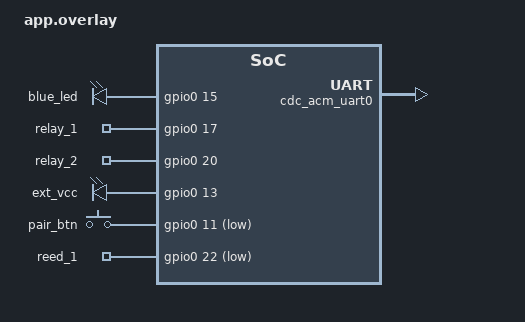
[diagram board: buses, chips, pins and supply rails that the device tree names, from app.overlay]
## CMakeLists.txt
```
cmake_minimum_required(VERSION 3.20.0)
find_package(Zephyr REQUIRED HINTS $ENV{ZEPHYR_BASE})
project(supermini_gate_controller)

target_sources(app PRIVATE src/main.c)
```

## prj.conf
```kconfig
# Обязательный базовый профиль nRF Connect SDK
CONFIG_NCS_SAMPLES_DEFAULTS=y

# Внутренний RC-генератор (на SuperMini нет внешнего кварца 32.768 кГц)
CONFIG_CLOCK_CONTROL_NRF_K32SRC_RC=y
CONFIG_CLOCK_CONTROL_NRF_K32SRC_XTAL=n
CONFIG_CLOCK_CONTROL_NRF_K32SRC_500PPM=y

# Сборка UF2 для загрузчика Adafruit
CONFIG_BUILD_OUTPUT_UF2=y

# Криптография для ZBOSS с правильным приоритетом инициализации из light_bulb!
CONFIG_CRYPTO=y
CONFIG_CRYPTO_NRF_ECB=y
CONFIG_CRYPTO_INIT_PRIORITY=80
CONFIG_ENTROPY_GENERATOR=y

# Стек Zigbee (Роль Роутера + таймер через k_timer ядра)
CONFIG_ZIGBEE=y
CONFIG_ZIGBEE_APP_UTILS=y
CONFIG_ZIGBEE_ROLE_ROUTER=y
CONFIG_ZIGBEE_TIME_KTIMER=y
CONFIG_ZIGBEE_CHANNEL_SELECTION_MODE_MULTI=y
CONFIG_ZIGBEE_CHANNEL_MASK=0x07FFF800

# Сетевой стек (как в примерах Nordic)
CONFIG_NET_IPV6=n
CONFIG_NET_IP_ADDR_CHECK=n
CONFIG_NET_UDP=n

# Хранилище NVRAM для ZBOSS
CONFIG_FLASH=y
CONFIG_FLASH_MAP=y
CONFIG_NVS=y
CONFIG_SETTINGS=y

# Периферия и память
CONFIG_GPIO=y
CONFIG_HEAP_MEM_POOL_SIZE=16384
CONFIG_MAIN_STACK_SIZE=4096
CONFIG_SYSTEM_WORKQUEUE_STACK_SIZE=4096

# Отключаем USB и консоли
CONFIG_USB_DEVICE_STACK=n
CONFIG_SERIAL=n
CONFIG_CONSOLE=n
CONFIG_UART_CONSOLE=n
CONFIG_LOG=n
```

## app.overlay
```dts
/{
    chosen {
        zephyr,console = &cdc_acm_uart0;
    };

    aliases {
        led0 = &blue_led;
        sw0 = &pair_btn;
        relay-full = &relay_1;
        relay-wicket = &relay_2;
        reed-switch = &reed_1;
    };

    leds {
        compatible = "gpio-leds";
        blue_led: led_0 {
            /* Встроенный LED на SuperMini nRF52840 (P0.15) */
            gpios = <&gpio0 15 GPIO_ACTIVE_HIGH>;
        };
        relay_1: relay_full {
            /* Реле 1: Полное открытие (пин 017) */
            gpios = <&gpio0 17 GPIO_ACTIVE_HIGH>;
        };
        relay_2: relay_wicket {
            /* Реле 2: Калитка (пин 020) */
            gpios = <&gpio0 20 GPIO_ACTIVE_HIGH>;
        };
        ext_vcc: vcc_en {
            /* Включает питание 3.3V на пине VCC платы (пин 013) */
            gpios = <&gpio0 13 GPIO_ACTIVE_HIGH>;
        };
    };

    buttons {
        compatible = "gpio-keys";
        pair_btn: button_0 {
            /* Кнопка сброса сети на пине 011 / D7 (5 сек на GND) */
            gpios = <&gpio0 11 (GPIO_PULL_UP | GPIO_ACTIVE_LOW)>;
        };
        reed_1: reed_closed {
            /* Геркон полного закрытия (пин 022, замкнут на GND при закрытых воротах) */
            gpios = <&gpio0 22 (GPIO_PULL_UP | GPIO_ACTIVE_LOW)>;
        };
    };
};

&zephyr_udc0 {
    cdc_acm_uart0: cdc_acm_uart0 {
        compatible = "zephyr,cdc-acm-uart";
    };
};

&spi1 {
    status = "disabled";
};
```

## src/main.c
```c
#include <zephyr/kernel.h>
#include <zephyr/drivers/gpio.h>


#include <zephyr/logging/log.h>
LOG_MODULE_REGISTER(app, LOG_LEVEL_INF);

#include <zboss_api.h>
#include <zboss_api_addons.h>
#include <zigbee/zigbee_app_utils.h>
#include <zigbee/zigbee_error_handler.h>
#include <zb_nrf_platform.h>

/* Идентификаторы эндпоинтов */
#define EP_FULL_OPEN    1
#define EP_WICKET       2
#define EP_REED_SWITCH  3

/* Параметры устройства для Zigbee2MQTT */
#define INIT_BASIC_APP_VERSION       01
#define INIT_BASIC_STACK_VERSION     10
#define INIT_BASIC_HW_VERSION        01
#define INIT_BASIC_MANUF_NAME        "DIY"
#define INIT_BASIC_MODEL_ID          "SuperMini_Gate_v1"
#define INIT_BASIC_DATE_CODE         "20261123"
#define INIT_BASIC_POWER_SOURCE      ZB_ZCL_BASIC_POWER_SOURCE_DC_SOURCE

/* Оборудование из Devicetree */
static const struct gpio_dt_spec led_spec = GPIO_DT_SPEC_GET(DT_ALIAS(led0), gpios);
static const struct gpio_dt_spec vcc_spec = GPIO_DT_SPEC_GET(DT_NODELABEL(ext_vcc), gpios);
static const struct gpio_dt_spec btn_spec = GPIO_DT_SPEC_GET(DT_ALIAS(sw0), gpios);
static const struct gpio_dt_spec relay1_spec = GPIO_DT_SPEC_GET(DT_ALIAS(relay_full), gpios);
static const struct gpio_dt_spec relay2_spec = GPIO_DT_SPEC_GET(DT_ALIAS(relay_wicket), gpios);
static const struct gpio_dt_spec reed_spec = GPIO_DT_SPEC_GET(DT_ALIAS(reed_switch), gpios);

static struct gpio_callback btn_cb_data;
static struct gpio_callback reed_cb_data;
static bool is_joined = false;

/* Контексты атрибутов ZCL */
typedef struct {
    zb_uint8_t zcl_version;
    zb_uint8_t app_version;
    zb_uint8_t stack_version;
    zb_uint8_t hw_version;
    zb_char_t mf_name[32];
    zb_char_t model_id[32];
    zb_char_t date_code[32];
    zb_uint8_t power_source;
    zb_uint8_t location_id[17];
    zb_uint8_t ph_env;
    zb_char_t sw_build_id[17];
} basic_attr_t;

typedef struct {
    zb_uint16_t identify_time;
} identify_attr_t;

typedef struct {
    zb_bool_t on_off;
} on_off_attr_t;

typedef struct {
    zb_bool_t out_of_service;
    zb_bool_t present_value;
    zb_uint8_t status_flags;
} binary_input_attr_t;

static basic_attr_t dev_basic_attr;
static identify_attr_t dev_identify_attr;
static on_off_attr_t relay1_on_off_attr;
static on_off_attr_t relay2_on_off_attr;
static binary_input_attr_t reed_bi_attr;

/* Декларация кластеров ZCL */
ZB_ZCL_DECLARE_BASIC_ATTRIB_LIST_EXT(basic_attr_list,
    &dev_basic_attr.zcl_version,
    &dev_basic_attr.app_version,
    &dev_basic_attr.stack_version,
    &dev_basic_attr.hw_version,
    dev_basic_attr.mf_name,
    dev_basic_attr.model_id,
    dev_basic_attr.date_code,
    &dev_basic_attr.power_source,
    dev_basic_attr.location_id,
    &dev_basic_attr.ph_env,
    dev_basic_attr.sw_build_id);

ZB_ZCL_DECLARE_IDENTIFY_ATTRIB_LIST(identify_attr_list, &dev_identify_attr.identify_time);
ZB_ZCL_DECLARE_ON_OFF_ATTRIB_LIST(on_off_attr_list_1, &relay1_on_off_attr.on_off);
ZB_ZCL_DECLARE_ON_OFF_ATTRIB_LIST(on_off_attr_list_2, &relay2_on_off_attr.on_off);

ZB_ZCL_DECLARE_BINARY_INPUT_ATTRIB_LIST(bi_attr_list,
    &reed_bi_attr.out_of_service,
    &reed_bi_attr.present_value,
    &reed_bi_attr.status_flags);

/* Списки кластеров по эндпоинтам */
zb_zcl_cluster_desc_t ep1_clusters[] = {
    ZB_ZCL_CLUSTER_DESC(ZB_ZCL_CLUSTER_ID_BASIC, ZB_ZCL_ARRAY_SIZE(basic_attr_list, zb_zcl_attr_t), basic_attr_list, ZB_ZCL_CLUSTER_SERVER_ROLE, ZB_ZCL_MANUF_CODE_INVALID),
    ZB_ZCL_CLUSTER_DESC(ZB_ZCL_CLUSTER_ID_IDENTIFY, ZB_ZCL_ARRAY_SIZE(identify_attr_list, zb_zcl_attr_t), identify_attr_list, ZB_ZCL_CLUSTER_SERVER_ROLE, ZB_ZCL_MANUF_CODE_INVALID),
    ZB_ZCL_CLUSTER_DESC(ZB_ZCL_CLUSTER_ID_ON_OFF, ZB_ZCL_ARRAY_SIZE(on_off_attr_list_1, zb_zcl_attr_t), on_off_attr_list_1, ZB_ZCL_CLUSTER_SERVER_ROLE, ZB_ZCL_MANUF_CODE_INVALID),
};

zb_zcl_cluster_desc_t ep2_clusters[] = {
    ZB_ZCL_CLUSTER_DESC(ZB_ZCL_CLUSTER_ID_IDENTIFY, ZB_ZCL_ARRAY_SIZE(identify_attr_list, zb_zcl_attr_t), identify_attr_list, ZB_ZCL_CLUSTER_SERVER_ROLE, ZB_ZCL_MANUF_CODE_INVALID),
    ZB_ZCL_CLUSTER_DESC(ZB_ZCL_CLUSTER_ID_ON_OFF, ZB_ZCL_ARRAY_SIZE(on_off_attr_list_2, zb_zcl_attr_t), on_off_attr_list_2, ZB_ZCL_CLUSTER_SERVER_ROLE, ZB_ZCL_MANUF_CODE_INVALID),
};

zb_zcl_cluster_desc_t ep3_clusters[] = {
    ZB_ZCL_CLUSTER_DESC(ZB_ZCL_CLUSTER_ID_IDENTIFY, ZB_ZCL_ARRAY_SIZE(identify_attr_list, zb_zcl_attr_t), identify_attr_list, ZB_ZCL_CLUSTER_SERVER_ROLE, ZB_ZCL_MANUF_CODE_INVALID),
    ZB_ZCL_CLUSTER_DESC(ZB_ZCL_CLUSTER_ID_BINARY_INPUT, ZB_ZCL_ARRAY_SIZE(bi_attr_list, zb_zcl_attr_t), bi_attr_list, ZB_ZCL_CLUSTER_SERVER_ROLE, ZB_ZCL_MANUF_CODE_INVALID),
};

/* Дескрипторы эндпоинтов */
typedef ZB_PACKED_PRE struct {
    zb_uint8_t endpoint;
    zb_uint16_t app_profile_id;
    zb_uint16_t app_device_id;
    zb_bitfield_t app_device_version:4;
    zb_bitfield_t reserved:4;
    zb_uint8_t app_input_cluster_count;
    zb_uint8_t app_output_cluster_count;
    zb_uint16_t app_cluster_list[3];
} ZB_PACKED_STRUCT gate_simple_desc_3_t;

typedef ZB_PACKED_PRE struct {
    zb_uint8_t endpoint;
    zb_uint16_t app_profile_id;
    zb_uint16_t app_device_id;
    zb_bitfield_t app_device_version:4;
    zb_bitfield_t reserved:4;
    zb_uint8_t app_input_cluster_count;
    zb_uint8_t app_output_cluster_count;
    zb_uint16_t app_cluster_list[2];
} ZB_PACKED_STRUCT gate_simple_desc_2_t;

/* ИСПРАВЛЕНО: указаны 3 кластера в соответствии с ep1_clusters */
static gate_simple_desc_3_t simple_desc_ep1 = {
    EP_FULL_OPEN, ZB_AF_HA_PROFILE_ID, ZB_HA_ON_OFF_OUTPUT_DEVICE_ID, 1, 0, 3, 0,
    { ZB_ZCL_CLUSTER_ID_BASIC, ZB_ZCL_CLUSTER_ID_IDENTIFY, ZB_ZCL_CLUSTER_ID_ON_OFF }
};

static gate_simple_desc_2_t simple_desc_ep2 = {
    EP_WICKET, ZB_AF_HA_PROFILE_ID, ZB_HA_ON_OFF_OUTPUT_DEVICE_ID, 1, 0, 2, 0,
    { ZB_ZCL_CLUSTER_ID_IDENTIFY, ZB_ZCL_CLUSTER_ID_ON_OFF }
};

static gate_simple_desc_2_t simple_desc_ep3 = {
    EP_REED_SWITCH, ZB_AF_HA_PROFILE_ID, ZB_HA_SIMPLE_SENSOR_DEVICE_ID, 1, 0, 2, 0,
    { ZB_ZCL_CLUSTER_ID_IDENTIFY, ZB_ZCL_CLUSTER_ID_BINARY_INPUT }
};

ZB_AF_DECLARE_ENDPOINT_DESC(ep1_desc, EP_FULL_OPEN, ZB_AF_HA_PROFILE_ID, 0, NULL,
    ZB_ZCL_ARRAY_SIZE(ep1_clusters, zb_zcl_cluster_desc_t), ep1_clusters,
    (zb_af_simple_desc_1_1_t *)&simple_desc_ep1, 0, NULL, 0, NULL);

ZB_AF_DECLARE_ENDPOINT_DESC(ep2_desc, EP_WICKET, ZB_AF_HA_PROFILE_ID, 0, NULL,
    ZB_ZCL_ARRAY_SIZE(ep2_clusters, zb_zcl_cluster_desc_t), ep2_clusters,
    (zb_af_simple_desc_1_1_t *)&simple_desc_ep2, 0, NULL, 0, NULL);

ZB_AF_DECLARE_ENDPOINT_DESC(ep3_desc, EP_REED_SWITCH, ZB_AF_HA_PROFILE_ID, 0, NULL,
    ZB_ZCL_ARRAY_SIZE(ep3_clusters, zb_zcl_cluster_desc_t), ep3_clusters,
    (zb_af_simple_desc_1_1_t *)&simple_desc_ep3, 0, NULL, 0, NULL);

zb_af_endpoint_desc_t *gate_ep_list[] = { &ep1_desc, &ep2_desc, &ep3_desc };
zb_af_device_ctx_t gate_ctx = {
    3,
    gate_ep_list
};

/* --- Отложенные задачи (Workqueues) --- */

/* 0. Мигание светодиодом во время поиска сети */
static void led_blink_handler(struct k_work *work);
K_WORK_DELAYABLE_DEFINE(led_blink_work, led_blink_handler);

static void led_blink_handler(struct k_work *work)
{
    if (!is_joined) {
        gpio_pin_toggle_dt(&led_spec);
        k_work_reschedule(&led_blink_work, K_MSEC(300));
    } else {
        gpio_pin_set_dt(&led_spec, 1);
    }
}

/* 1. Отключение Реле 1 через 500 мс */
static void relay1_off_handler(struct k_work *work)
{
    gpio_pin_set_dt(&relay1_spec, 0);
    zb_uint8_t val = ZB_FALSE;
    zb_zcl_set_attr_val(EP_FULL_OPEN, ZB_ZCL_CLUSTER_ID_ON_OFF,
                        ZB_ZCL_CLUSTER_SERVER_ROLE, ZB_ZCL_ATTR_ON_OFF_ON_OFF_ID,
                        &val, ZB_FALSE);
}
K_WORK_DELAYABLE_DEFINE(relay1_off_work, relay1_off_handler);

/* 2. Отключение Реле 2 через 500 мс */
static void relay2_off_handler(struct k_work *work)
{
    gpio_pin_set_dt(&relay2_spec, 0);
    zb_uint8_t val = ZB_FALSE;
    zb_zcl_set_attr_val(EP_WICKET, ZB_ZCL_CLUSTER_ID_ON_OFF,
                        ZB_ZCL_CLUSTER_SERVER_ROLE, ZB_ZCL_ATTR_ON_OFF_ON_OFF_ID,
                        &val, ZB_FALSE);
}
K_WORK_DELAYABLE_DEFINE(relay2_off_work, relay2_off_handler);

/* 3. Антидребезг и отправка статуса геркона */
static void reed_work_handler(struct k_work *work)
{
    int closed = gpio_pin_get_dt(&reed_spec);
    /* true (1) = ворота открыты, false (0) = ворота закрыты */
    zb_bool_t is_open = (closed == 1) ? ZB_FALSE : ZB_TRUE;

    zb_zcl_set_attr_val(EP_REED_SWITCH, ZB_ZCL_CLUSTER_ID_BINARY_INPUT,
                        ZB_ZCL_CLUSTER_SERVER_ROLE, ZB_ZCL_ATTR_BINARY_INPUT_PRESENT_VALUE_ID,
                        (zb_uint8_t *)&is_open, ZB_FALSE);
}
K_WORK_DELAYABLE_DEFINE(reed_work, reed_work_handler);

/* 4. Сброс привязки Zigbee (Factory Reset) при удержании кнопки 5 сек */
static void reset_work_handler(struct k_work *work)
{
    if (gpio_pin_get_dt(&btn_spec) == 1) {
        is_joined = false;
        k_work_reschedule(&led_blink_work, K_NO_WAIT);
        zb_bdb_reset_via_local_action(0);
    }
}
K_WORK_DELAYABLE_DEFINE(reset_work, reset_work_handler);

/* Прерывания GPIO */
static void reed_isr(const struct device *dev, struct gpio_callback *cb, uint32_t pins)
{
    k_work_reschedule(&reed_work, K_MSEC(200));
}

static void btn_isr(const struct device *dev, struct gpio_callback *cb, uint32_t pins)
{
    if (gpio_pin_get_dt(&btn_spec) == 1) {
        k_work_reschedule(&reset_work, K_SECONDS(5));
    } else {
        k_work_cancel_delayable(&reset_work);
    }
}

/* Обработчик входящих ZCL-команд */
static void zcl_device_cb(zb_bufid_t bufid)
{
    zb_zcl_device_callback_param_t *p_device_cb_param = ZB_BUF_GET_PARAM(bufid, zb_zcl_device_callback_param_t);

    if (p_device_cb_param->device_cb_id == ZB_ZCL_SET_ATTR_VALUE_CB_ID) {
        if (p_device_cb_param->cb_param.set_attr_value_param.cluster_id == ZB_ZCL_CLUSTER_ID_ON_OFF) {
            zb_uint8_t value = p_device_cb_param->cb_param.set_attr_value_param.values.data8;
            zb_uint8_t ep = p_device_cb_param->endpoint;

            if (value == ZB_TRUE) {
                if (ep == EP_FULL_OPEN) {
                    gpio_pin_set_dt(&relay1_spec, 1);
                    k_work_reschedule(&relay1_off_work, K_MSEC(500));
                } else if (ep == EP_WICKET) {
                    gpio_pin_set_dt(&relay2_spec, 1);
                    k_work_reschedule(&relay2_off_work, K_MSEC(500));
                }
            }
        }
    }
    p_device_cb_param->status = RET_OK;
}


/* Обработчик событий стека Zigbee */
void zboss_signal_handler(zb_bufid_t bufid)
{
    zb_zdo_app_signal_hdr_t *p_sg_p = NULL;
    zb_zdo_app_signal_type_t sig = zb_get_app_signal(bufid, &p_sg_p);
    zb_ret_t status = ZB_GET_APP_SIGNAL_STATUS(bufid);

    switch (sig) {
    case ZB_BDB_SIGNAL_DEVICE_FIRST_START:
    case ZB_BDB_SIGNAL_DEVICE_REBOOT:
        if (status == RET_OK) {
            /* Стек инициализирован — запускаем поиск/переподключение к сети */
            is_joined = false;
            k_work_reschedule(&led_blink_work, K_NO_WAIT);
            bdb_start_top_level_commissioning(ZB_BDB_NETWORK_STEERING);
        }
        break;

    case ZB_BDB_SIGNAL_STEERING:
        if (status == RET_OK) {
            /* Успешно подключились к сети Zigbee! */
            is_joined = true;
            k_work_cancel_delayable(&led_blink_work);
            gpio_pin_set_dt(&led_spec, 1);
            k_work_reschedule(&reed_work, K_SECONDS(3));
        } else {
            /* Сеть не найдена — продолжаем мигать и повторяем поиск через 1 сек */
            is_joined = false;
            k_work_reschedule(&led_blink_work, K_NO_WAIT);
            ZB_SCHEDULE_APP_ALARM((zb_callback_t)bdb_start_top_level_commissioning,
                                  ZB_BDB_NETWORK_STEERING,
                                  ZB_TIME_ONE_SECOND);
        }
        break;

    case ZB_ZDO_SIGNAL_LEAVE:
        if (status == RET_OK) {
            is_joined = false;
            k_work_reschedule(&led_blink_work, K_NO_WAIT);
            bdb_start_top_level_commissioning(ZB_BDB_NETWORK_STEERING);
        }
        break;

    default:
        ZB_ERROR_CHECK(zigbee_default_signal_handler(bufid));
        break;
    }

    if (bufid) {
        zb_buf_free(bufid);
    }
}


static void init_clusters_attr(void)
{
    memset(&dev_basic_attr, 0, sizeof(dev_basic_attr));
    memset(&dev_identify_attr, 0, sizeof(dev_identify_attr));
    memset(&relay1_on_off_attr, 0, sizeof(relay1_on_off_attr));
    memset(&relay2_on_off_attr, 0, sizeof(relay2_on_off_attr));
    memset(&reed_bi_attr, 0, sizeof(reed_bi_attr));
    
    dev_basic_attr.zcl_version = ZB_ZCL_VERSION;
    dev_basic_attr.app_version = INIT_BASIC_APP_VERSION;
    dev_basic_attr.stack_version = INIT_BASIC_STACK_VERSION;
    dev_basic_attr.hw_version = INIT_BASIC_HW_VERSION;
    ZB_ZCL_SET_STRING_VAL(dev_basic_attr.mf_name, INIT_BASIC_MANUF_NAME, ZB_ZCL_STRING_CONST_SIZE(INIT_BASIC_MANUF_NAME));
    ZB_ZCL_SET_STRING_VAL(dev_basic_attr.model_id, INIT_BASIC_MODEL_ID, ZB_ZCL_STRING_CONST_SIZE(INIT_BASIC_MODEL_ID));
    ZB_ZCL_SET_STRING_VAL(dev_basic_attr.date_code, INIT_BASIC_DATE_CODE, ZB_ZCL_STRING_CONST_SIZE(INIT_BASIC_DATE_CODE));
    dev_basic_attr.power_source = INIT_BASIC_POWER_SOURCE;

    relay1_on_off_attr.on_off = ZB_FALSE;
    relay2_on_off_attr.on_off = ZB_FALSE;

    reed_bi_attr.out_of_service = ZB_FALSE;
    reed_bi_attr.present_value = ZB_FALSE;
    reed_bi_attr.status_flags = 0;
}

int main(void)
{
  
    /* Включаем питание внешнего вывода 3.3V (P0.13) */
   /* gpio_pin_configure_dt(&vcc_spec, GPIO_OUTPUT_ACTIVE);*/

    /* Инициализация LED и реле */
    gpio_pin_configure_dt(&led_spec, GPIO_OUTPUT_INACTIVE); 
    
       /* Прямое мигание 6 раз (3 секунды) ДО инициализации Zigbee */
    for (int i = 0; i < 6; i++) {
        gpio_pin_toggle_dt(&led_spec);
        k_msleep(500);
    }
    gpio_pin_configure_dt(&relay1_spec, GPIO_OUTPUT_INACTIVE);
    gpio_pin_configure_dt(&relay2_spec, GPIO_OUTPUT_INACTIVE);

    /* Инициализация кнопки и геркона */
    gpio_pin_configure_dt(&btn_spec, GPIO_INPUT);
    gpio_pin_interrupt_configure_dt(&btn_spec, GPIO_INT_EDGE_BOTH);
    gpio_init_callback(&btn_cb_data, btn_isr, BIT(btn_spec.pin));
    gpio_add_callback(btn_spec.port, &btn_cb_data);

    gpio_pin_configure_dt(&reed_spec, GPIO_INPUT);
    gpio_pin_interrupt_configure_dt(&reed_spec, GPIO_INT_EDGE_BOTH);
    gpio_init_callback(&reed_cb_data, reed_isr, BIT(reed_spec.pin));
    gpio_add_callback(reed_spec.port, &reed_cb_data);

    /* Запускаем мигание до подключения к сети */
     k_work_reschedule(&led_blink_work, K_NO_WAIT);
      /* Даём 2 секунды визуально увидеть запуск прошивки до старта Zigbee */
    k_msleep(2000);


    k_msleep(1500);
    printk("GATE: Starting Zigbee init...\r\n");
    
    /* Инициализация Zigbee */
    init_clusters_attr();
    ZB_ZCL_REGISTER_DEVICE_CB(zcl_device_cb);
    ZB_AF_REGISTER_DEVICE_CTX(&gate_ctx);

   
    /* БЫЛО: zigbee_erase_persistent_storage(ZB_FALSE); */
    zigbee_erase_persistent_storage(ZB_FALSE);
    

    zigbee_enable();

    return 0;
}
```
